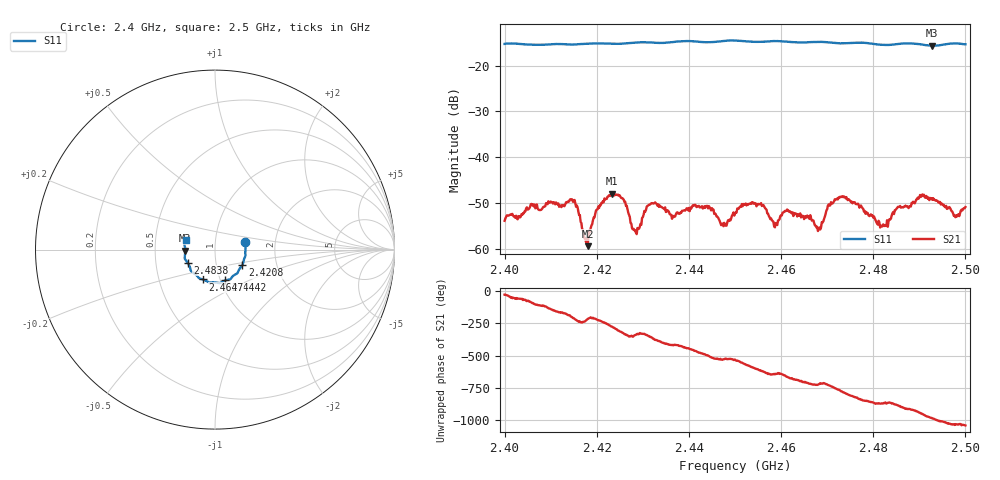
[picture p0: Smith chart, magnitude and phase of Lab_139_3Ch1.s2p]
# Hz S RI R 50
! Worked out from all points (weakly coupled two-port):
!   601 points, 2.4 GHz to 2.5 GHz, reference 50 ohm
!   highest |S21| = -47.99 dB at 2.4233 GHz (marker M1); lowest = -59.5 dB at 2.418 GHz (marker M2)
!   lowest |S11| = -15.6 dB at 2.4928 GHz (marker M3), VSWR 1.40, Z = 35.8 - j0.382 ohm
!   |S11| at or under -10 dB: start of sweep to end of sweep
!   S12 and S22 are empty: the file has one direction only
!   S11 on the Smith chart (normalised r, x): 2.4 GHz: 1.40, +0.12; 2.4208 GHz: 1.33, -0.24; 2.4442 GHz: 1.05, -0.37; 2.4647 GHz: 0.83, -0.29; 2.4838 GHz: 0.73, -0.11; 2.5 GHz: 0.72, +0.08
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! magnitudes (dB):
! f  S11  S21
! 2.4 GHz  -15.2  -53.9
! 2.4147 GHz  -15.4  -49.2
! 2.4167 GHz  -15.3  -54.4
! 2.418 GHz  -15.2  -59.5
! 2.4208 GHz  -15.1  -50.5
! 2.4233 GHz  -15.2  -48.0
! 2.426 GHz  -15.1  -49.8
! 2.4282 GHz  -15.0  -56.0
! 2.4333 GHz  -15.0  -50.3
! 2.4442 GHz  -14.9  -51.2
! 2.4475 GHz  -14.6  -55.1
! 2.45 GHz  -14.5  -52.3
! 2.454 GHz  -14.8  -50.2
! 2.4587 GHz  -14.6  -55.3
! 2.4647 GHz  -14.9  -52.8
! 2.4667 GHz  -14.8  -53.9
! 2.4682 GHz  -14.8  -55.7
! 2.4733 GHz  -15.1  -48.5
! 2.4833 GHz  -15.5  -54.0
! 2.4838 GHz  -15.4  -53.4
! 2.4928 GHz  -15.6  -49.3
! 2.5 GHz  -15.3  -50.9
